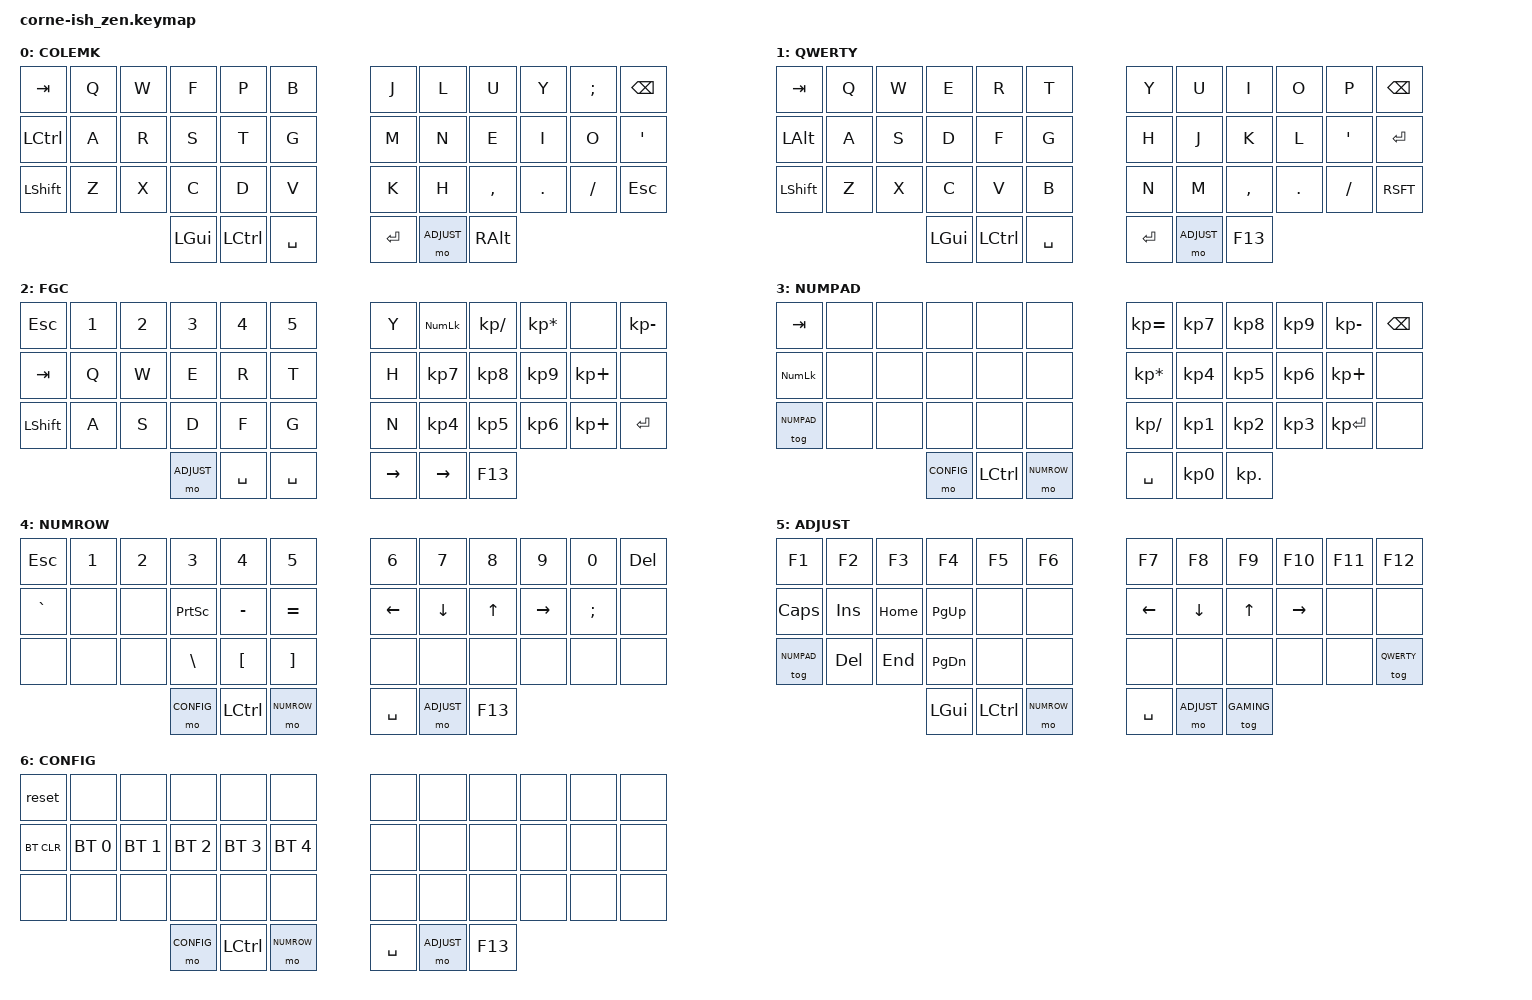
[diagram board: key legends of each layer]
/*
*
* Copyright (c) 2021 lowprokb.ca
* SPDX-License-Identifier: MIT
*
*/

#include <behaviors.dtsi>
#include <dt-bindings/zmk/keys.h>
#include <dt-bindings/zmk/bt.h>

#define COLEMK 0
#define QWERTY 1
#define GAMING 2
#define NUMPAD 3
#define NUMROW 4
#define ADJUST 5
#define CONFIG 6

/ {
        keymap {
                compatible = "zmk,keymap";

                default_layer {
                        label = "COLEMK";
// -----------------------------------------------------------------------------------------
// |  TAB |  Q  |  W  |  F  |  P  |  B  |   |  J  |  L   |  U  |  Y  |  ;  | BKSP |
// | CTRL |  A  |  R  |  S  |  T  |  G  |   |  M  |  N   |  E  |  I  |  O  |  '   |
// | SHFT |  Z  |  X  |  C  |  D  |  V  |   |  K  |  H   |  ,  |  .  |  /  | ESC  |
//                    | GUI | LWR | SPC |   | ENT | RSE  | ALT |
                        bindings = <
   &kp TAB   &kp Q &kp W &kp F &kp P &kp B   &kp J &kp L  &kp U     &kp Y   &kp SEMI    &kp BSPC
   &kp LCTRL &kp A &kp R &kp S &kp T &kp G   &kp M &kp N  &kp E     &kp I   &kp O       &kp SQT
   &kp LSHFT &kp Z &kp X &kp C &kp D &kp V   &kp K &kp H  &kp COMMA &kp DOT &kp FSLH    &kp ESC
               &kp LGUI &kp LCTL &kp SPACE   &kp RET &mo ADJUST &kp RALT
                        >;
                };

                qwerty_layer {
                        label = "QWERTY";
                        bindings = <
   &kp TAB   &kp Q &kp W &kp E &kp R &kp T    &kp Y &kp U &kp I    &kp O   &kp P    &kp BKSP
   &kp LALT  &kp A &kp S &kp D &kp F &kp G    &kp H &kp J &kp K    &kp L   &kp QUOT &kp ENTER
   &kp LSHFT &kp Z &kp X &kp C &kp V &kp B    &kp N &kp M &kp CMMA &kp DOT &kp FSLH &kp RSFT
              &kp LGUI &kp LCTL &kp SPC       &kp RET &mo ADJUST &kp F13
                        >;
                };

                gaming_layer {
                        label = "FGC";
                        bindings = <
   &kp ESC   &kp N1 &kp N2 &kp N3 &kp N4 &kp N5   &kp Y &kp KP_NLCK &kp KP_SLASH    &kp KP_ASTERISK &none           &kp KP_MINUS
   &kp TAB   &kp Q  &kp W  &kp E  &kp R  &kp T    &kp H &kp KP_N7   &kp KP_N8       &kp KP_N9       &kp KP_PLUS     &none
   &kp LSHFT &kp A  &kp S  &kp D  &kp F  &kp G    &kp N &kp KP_N4   &kp KP_N5       &kp KP_N6       &kp KP_PLUS     &kp ENTER
                     &mo ADJUST &kp SPC &kp SPC   &kp RIGHT &kp RIGHT &kp F13
                        >;
                };

                numpad_layer {
                        label = "NUMPAD";
                        bindings = < 
   &kp TAB     &none &none &none &none &none    &kp KP_EQUAL    &kp KP_N7 &kp KP_N8 &kp KP_N9 &kp KP_MINUS &kp BSPC
   &kp KP_NLCK &none &none &none &none &none    &kp KP_ASTERISK &kp KP_N4 &kp KP_N5 &kp KP_N6 &kp KP_PLUS  &none
   &tog NUMPAD &none &none &none &none &none    &kp KP_SLASH    &kp KP_N1 &kp KP_N2 &kp KP_N3 &kp KP_ENTER &none
              &mo CONFIG &kp LCTL &mo NUMROW    &kp SPC &kp KP_N0 &kp KP_DOT
                        >;
                };

                numrow_layer {
                        label = "NUMROW";
                        bindings = <
   &kp ESC   &kp N1 &kp N2 &kp N3    &kp N4    &kp N5       &kp N6   &kp N7   &kp N8 &kp N9    &kp N0   &kp DEL
   &kp GRAVE &none  &none  &kp PSCRN &kp MINUS &kp EQUAL    &kp LEFT &kp DOWN &kp UP &kp RIGHT &kp SEMI &none
   &none     &none  &none  &kp BSLH  &kp LBKT  &kp RBKT     &none    &none    &none  &none     &none    &none 
                          &mo CONFIG &kp LCTL &mo NUMROW    &kp SPC &mo ADJUST &kp F13
                        >;
                };

                adjust_layer {
                        label = "ADJUST";
                        bindings = <
   &kp F1      &kp F2  &kp F3   &kp F4    &kp F5 &kp F6    &kp F7   &kp F8   &kp F9 &kp F10   &kp F11 &kp F12
   &kp CAPS    &kp INS &kp HOME &kp PG_UP &none  &none     &kp LEFT &kp DOWN &kp UP &kp RIGHT &none   &none
   &tog NUMPAD &kp DEL &kp END  &kp PG_DN &none  &none     &none    &none    &none  &none     &none   &tog QWERTY
                           &kp LGUI &kp LCTL &mo NUMROW    &kp SPC &mo ADJUST &tog GAMING
                        >;
                };

                config_layer {
                        label = "CONFIG";
                        bindings = <
   &reset     &none        &none        &none        &none        &none           &none &none &none &none &none &none 
   &bt BT_CLR &bt BT_SEL 0 &bt BT_SEL 1 &bt BT_SEL 2 &bt BT_SEL 3 &bt BT_SEL 4    &none &none &none &none &none &none
   &none      &none        &none        &none        &none        &none           &none &none &none &none &none &none
                                                &mo CONFIG &kp LCTL &mo NUMROW    &kp SPC &mo ADJUST &kp F13
                        >;
                };
        };
};
